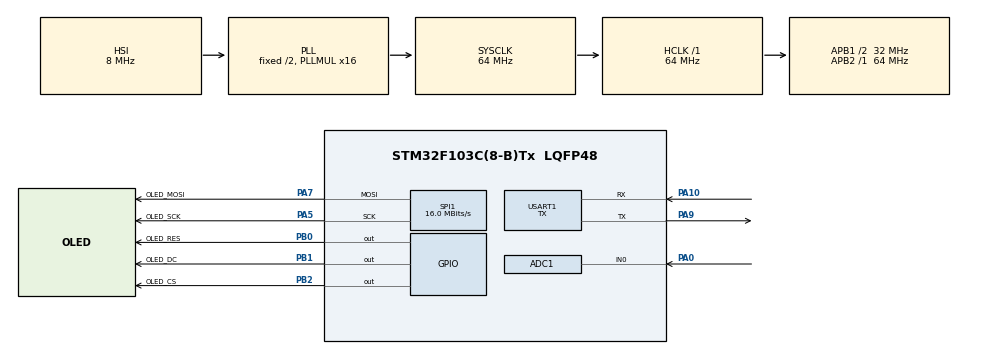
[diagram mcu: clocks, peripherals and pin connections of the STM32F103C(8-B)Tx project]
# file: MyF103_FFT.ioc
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ADC1.Channel-0\#ChannelRegularConversion=ADC_CHANNEL_0
ADC1.ExternalTrigConv=ADC_EXTERNALTRIGCONV_T3_TRGO
ADC1.NbrOfConversionFlag=1
ADC1.Rank-0\#ChannelRegularConversion=1
ADC1.SamplingTime-0\#ChannelRegularConversion=ADC_SAMPLETIME_1CYCLE_5
ADC1.master=1
Dma.ADC1.0.Direction=DMA_PERIPH_TO_MEMORY
Dma.ADC1.0.Instance=DMA1_Channel1
Dma.ADC1.0.MemDataAlignment=DMA_MDATAALIGN_WORD
Dma.ADC1.0.MemInc=DMA_MINC_ENABLE
Dma.ADC1.0.Mode=DMA_CIRCULAR
Dma.ADC1.0.PeriphDataAlignment=DMA_PDATAALIGN_WORD
Dma.ADC1.0.PeriphInc=DMA_PINC_DISABLE
Dma.ADC1.0.Priority=DMA_PRIORITY_LOW
Dma.Request0=ADC1
FREERTOS.Tasks01=defaultTask,24,128,StartDefaultTask,Default,NULL,Dynamic,NULL,NULL
FREERTOS.configTOTAL_HEAP_SIZE=6144
Mcu.Family=STM32F1
Mcu.Name=STM32F103C(8-B)Tx
Mcu.Package=LQFP48
NVIC.DMA1_Channel1_IRQn=true\:5\:0\:true\:false\:true\:true\:false\:true
NVIC.PriorityGroup=NVIC_PRIORITYGROUP_4
NVIC.TIM2_IRQn=true\:0\:0\:false\:false\:true\:false\:false\:true
NVIC.TimeBase=TIM2_IRQn
NVIC.TimeBaseIP=TIM2
PA0-WKUP.Signal=ADCx_IN0
PA10.Mode=Asynchronous
PA10.Signal=USART1_RX
PA5.GPIO_Label=OLED_SCK
PA5.Mode=TX_Only_Simplex_Unidirect_Master
PA5.Signal=SPI1_SCK
PA7.GPIO_Label=OLED_MOSI
PA7.Mode=TX_Only_Simplex_Unidirect_Master
PA7.Signal=SPI1_MOSI
PA9.Mode=Asynchronous
PA9.Signal=USART1_TX
PB0.GPIO_Label=OLED_RES
PB0.GPIO_ModeDefaultOutputPP=GPIO_MODE_OUTPUT_PP
PB0.GPIO_Speed=GPIO_SPEED_FREQ_HIGH
PB0.PinState=GPIO_PIN_SET
PB0.Signal=GPIO_Output
PB1.GPIO_Label=OLED_DC
PB1.GPIO_Speed=GPIO_SPEED_FREQ_HIGH
PB1.PinState=GPIO_PIN_SET
PB1.Signal=GPIO_Output
PB2.GPIO_Label=OLED_CS
PB2.GPIO_Speed=GPIO_SPEED_FREQ_HIGH
PB2.PinState=GPIO_PIN_SET
PB2.Signal=GPIO_Output
ProjectManager.HeapSize=0x200
ProjectManager.StackSize=0x400
ProjectManager.TargetToolchain=MDK-ARM V5
RCC.ADCPresc=RCC_ADCPCLK2_DIV8
RCC.AHBFreq_Value=64000000
RCC.APB1CLKDivider=RCC_HCLK_DIV2
RCC.APB1Freq_Value=32000000
RCC.APB1TimFreq_Value=64000000
RCC.APB2Freq_Value=64000000
RCC.APB2TimFreq_Value=64000000
RCC.HCLKFreq_Value=64000000
RCC.PLLMUL=RCC_PLL_MUL16
RCC.SYSCLKFreq_VALUE=64000000
RCC.SYSCLKSource=RCC_SYSCLKSOURCE_PLLCLK
RCC.USBFreq_Value=64000000
SH.ADCx_IN0.0=ADC1_IN0,IN0
SPI1.BaudRatePrescaler=SPI_BAUDRATEPRESCALER_4
SPI1.CalculateBaudRate=16.0 MBits/s
SPI1.Direction=SPI_DIRECTION_2LINES
SPI1.Mode=SPI_MODE_MASTER
SPI1.VirtualType=VM_MASTER
TIM3.Period=100
TIM3.Prescaler=72-1
TIM3.TIM_MasterOutputTrigger=TIM_TRGO_UPDATE
USART1.Mode=MODE_TX
USART1.VirtualMode=VM_ASYNC
VP_FREERTOS_VS_CMSIS_V2.Mode=CMSIS_V2
VP_SYS_VS_ND.Mode=No_Debug
VP_SYS_VS_tim2.Mode=TIM2
VP_TIM3_VS_ClockSourceINT.Mode=Internal
board=custom

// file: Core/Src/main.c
/* USER CODE BEGIN Header */
/**
  ******************************************************************************
  * @file           : main.c
  * @brief          : Main program body
  ******************************************************************************
  * @attention
  *
  * <h2><center>&copy; Copyright (c) 2021 STMicroelectronics.
  * All rights reserved.</center></h2>
  *
  * This software component is licensed by ST under Ultimate Liberty license
  * SLA0044, the "License"; You may not use this file except in compliance with
  * the License. You may obtain a copy of the License at:
  *                             www.st.com/SLA0044
  *
  ******************************************************************************
  */
/* USER CODE END Header */
#include "main.h"
#include "cmsis_os.h"

/* USER CODE BEGIN Includes */
#include "FreeRTOS.h"
#include "task.h"
#include "semphr.h"
#include "oled.h"
#include "stdio.h"

#include "fft.h"

/* USER CODE END Includes */

ADC_HandleTypeDef hadc1;
DMA_HandleTypeDef hdma_adc1;

SPI_HandleTypeDef hspi1;

TIM_HandleTypeDef htim3;

UART_HandleTypeDef huart1;

/* Definitions for defaultTask */
osThreadId_t defaultTaskHandle;
const osThreadAttr_t defaultTask_attributes = {
  .name = "defaultTask",
  .stack_size = 128 * 4,
  .priority = (osPriority_t) osPriorityNormal,
};
/* USER CODE BEGIN PV */

/*开启或关闭屏幕刷新*/
volatile FunctionalState OLED_CMD = ENABLE;

/* USER CODE END PV */

void SystemClock_Config(void);
static void MX_GPIO_Init(void);
static void MX_DMA_Init(void);
static void MX_SPI1_Init(void);
static void MX_ADC1_Init(void);
static void MX_TIM3_Init(void);
static void MX_USART1_UART_Init(void);
void StartDefaultTask(void *argument);

/* USER CODE BEGIN PFP */

void oled_task(void *pvParameters);

/* USER CODE END PFP */

/* USER CODE BEGIN 0 */

#define OLED_TASK_PRIO				2
#define OLED_TASK_STACK_SIZE	128
TaskHandle_t OLEDTask_Handler;

/* USER CODE END 0 */

int main(void)
{

  /* MCU Configuration--------------------------------------------------------*/

  /* Reset of all peripherals, Initializes the Flash interface and the Systick. */
  HAL_Init();

  /* Configure the system clock */
  SystemClock_Config();

  /* Initialize all configured peripherals */
  MX_GPIO_Init();
  MX_DMA_Init();
  MX_SPI1_Init();
  MX_ADC1_Init();
  MX_TIM3_Init();
  MX_USART1_UART_Init();
  /* USER CODE BEGIN 2 */
	oled_init();

  /* USER CODE END 2 */

  /* Init scheduler */
  osKernelInitialize();

  /* Create the thread(s) */
  /* creation of defaultTask */
  defaultTaskHandle = osThreadNew(StartDefaultTask, NULL, &defaultTask_attributes);

  /* USER CODE BEGIN RTOS_THREADS */
  /* add threads, ... */
	xTaskCreate((TaskFunction_t)oled_task,
							(const char *)"oled_task",
							( configSTACK_DEPTH_TYPE)OLED_TASK_STACK_SIZE,
							(void *)NULL,
							(UBaseType_t)OLED_TASK_PRIO,
							(TaskHandle_t * )&OLEDTask_Handler);

	fft_task_create();

  /* USER CODE END RTOS_THREADS */

  /* Start scheduler */
  osKernelStart();

  /* We should never get here as control is now taken by the scheduler */
  /* Infinite loop */
  while (1)
  {

  }
}

void SystemClock_Config(void)
{
  RCC_OscInitTypeDef RCC_OscInitStruct = {0};
  RCC_ClkInitTypeDef RCC_ClkInitStruct = {0};
  RCC_PeriphCLKInitTypeDef PeriphClkInit = {0};

  /** Initializes the RCC Oscillators according to the specified parameters
  * in the RCC_OscInitTypeDef structure.
  */
  RCC_OscInitStruct.OscillatorType = RCC_OSCILLATORTYPE_HSI;
  RCC_OscInitStruct.HSIState = RCC_HSI_ON;
  RCC_OscInitStruct.HSICalibrationValue = RCC_HSICALIBRATION_DEFAULT;
  RCC_OscInitStruct.PLL.PLLState = RCC_PLL_ON;
  RCC_OscInitStruct.PLL.PLLSource = RCC_PLLSOURCE_HSI_DIV2;
  RCC_OscInitStruct.PLL.PLLMUL = RCC_PLL_MUL16;
  if (HAL_RCC_OscConfig(&RCC_OscInitStruct) != HAL_OK)
  {
    Error_Handler();
  }
  /** Initializes the CPU, AHB and APB buses clocks
  */
  RCC_ClkInitStruct.ClockType = RCC_CLOCKTYPE_HCLK|RCC_CLOCKTYPE_SYSCLK
                              |RCC_CLOCKTYPE_PCLK1|RCC_CLOCKTYPE_PCLK2;
  RCC_ClkInitStruct.SYSCLKSource = RCC_SYSCLKSOURCE_PLLCLK;
  RCC_ClkInitStruct.AHBCLKDivider = RCC_SYSCLK_DIV1;
  RCC_ClkInitStruct.APB1CLKDivider = RCC_HCLK_DIV2;
  RCC_ClkInitStruct.APB2CLKDivider = RCC_HCLK_DIV1;

  if (HAL_RCC_ClockConfig(&RCC_ClkInitStruct, FLASH_LATENCY_2) != HAL_OK)
  {
    Error_Handler();
  }
  PeriphClkInit.PeriphClockSelection = RCC_PERIPHCLK_ADC;
  PeriphClkInit.AdcClockSelection = RCC_ADCPCLK2_DIV8;
  if (HAL_RCCEx_PeriphCLKConfig(&PeriphClkInit) != HAL_OK)
  {
    Error_Handler();
  }
}

static void MX_ADC1_Init(void)
{

  ADC_ChannelConfTypeDef sConfig = {0};

  /** Common config
  */
  hadc1.Instance = ADC1;
  hadc1.Init.ScanConvMode = ADC_SCAN_DISABLE;
  hadc1.Init.ContinuousConvMode = DISABLE;
  hadc1.Init.DiscontinuousConvMode = DISABLE;
  hadc1.Init.ExternalTrigConv = ADC_EXTERNALTRIGCONV_T3_TRGO;
  hadc1.Init.DataAlign = ADC_DATAALIGN_RIGHT;
  hadc1.Init.NbrOfConversion = 1;
  if (HAL_ADC_Init(&hadc1) != HAL_OK)
  {
    Error_Handler();
  }
  /** Configure Regular Channel
  */
  sConfig.Channel = ADC_CHANNEL_0;
  sConfig.Rank = ADC_REGULAR_RANK_1;
  sConfig.SamplingTime = ADC_SAMPLETIME_1CYCLE_5;
  if (HAL_ADC_ConfigChannel(&hadc1, &sConfig) != HAL_OK)
  {
    Error_Handler();
  }

}

static void MX_SPI1_Init(void)
{

  /* SPI1 parameter configuration*/
  hspi1.Instance = SPI1;
  hspi1.Init.Mode = SPI_MODE_MASTER;
  hspi1.Init.Direction = SPI_DIRECTION_2LINES;
  hspi1.Init.DataSize = SPI_DATASIZE_8BIT;
  hspi1.Init.CLKPolarity = SPI_POLARITY_LOW;
  hspi1.Init.CLKPhase = SPI_PHASE_1EDGE;
  hspi1.Init.NSS = SPI_NSS_SOFT;
  hspi1.Init.BaudRatePrescaler = SPI_BAUDRATEPRESCALER_4;
  hspi1.Init.FirstBit = SPI_FIRSTBIT_MSB;
  hspi1.Init.TIMode = SPI_TIMODE_DISABLE;
  hspi1.Init.CRCCalculation = SPI_CRCCALCULATION_DISABLE;
  hspi1.Init.CRCPolynomial = 10;
  if (HAL_SPI_Init(&hspi1) != HAL_OK)
  {
    Error_Handler();
  }

}

static void MX_TIM3_Init(void)
{

  TIM_ClockConfigTypeDef sClockSourceConfig = {0};
  TIM_MasterConfigTypeDef sMasterConfig = {0};

  htim3.Instance = TIM3;
  htim3.Init.Prescaler = 72-1;
  htim3.Init.CounterMode = TIM_COUNTERMODE_UP;
  htim3.Init.Period = 100;
  htim3.Init.ClockDivision = TIM_CLOCKDIVISION_DIV1;
  htim3.Init.AutoReloadPreload = TIM_AUTORELOAD_PRELOAD_DISABLE;
  if (HAL_TIM_Base_Init(&htim3) != HAL_OK)
  {
    Error_Handler();
  }
  sClockSourceConfig.ClockSource = TIM_CLOCKSOURCE_INTERNAL;
  if (HAL_TIM_ConfigClockSource(&htim3, &sClockSourceConfig) != HAL_OK)
  {
    Error_Handler();
  }
  sMasterConfig.MasterOutputTrigger = TIM_TRGO_UPDATE;
  sMasterConfig.MasterSlaveMode = TIM_MASTERSLAVEMODE_DISABLE;
  if (HAL_TIMEx_MasterConfigSynchronization(&htim3, &sMasterConfig) != HAL_OK)
  {
    Error_Handler();
  }

}

static void MX_USART1_UART_Init(void)
{

  huart1.Instance = USART1;
  huart1.Init.BaudRate = 115200;
  huart1.Init.WordLength = UART_WORDLENGTH_8B;
  huart1.Init.StopBits = UART_STOPBITS_1;
  huart1.Init.Parity = UART_PARITY_NONE;
  huart1.Init.Mode = UART_MODE_TX;
  huart1.Init.HwFlowCtl = UART_HWCONTROL_NONE;
  huart1.Init.OverSampling = UART_OVERSAMPLING_16;
  if (HAL_UART_Init(&huart1) != HAL_OK)
  {
    Error_Handler();
  }

}

static void MX_DMA_Init(void)
{

  /* DMA controller clock enable */
  __HAL_RCC_DMA1_CLK_ENABLE();

  /* DMA interrupt init */
  /* DMA1_Channel1_IRQn interrupt configuration */
  HAL_NVIC_SetPriority(DMA1_Channel1_IRQn, 5, 0);
  HAL_NVIC_EnableIRQ(DMA1_Channel1_IRQn);

}

static void MX_GPIO_Init(void)
{
  GPIO_InitTypeDef GPIO_InitStruct = {0};

  /* GPIO Ports Clock Enable */
  __HAL_RCC_GPIOA_CLK_ENABLE();
  __HAL_RCC_GPIOB_CLK_ENABLE();

  /*Configure GPIO pin Output Level */
  HAL_GPIO_WritePin(GPIOB, OLED_RES_Pin|OLED_DC_Pin|OLED_CS_Pin, GPIO_PIN_SET);

  /*Configure GPIO pins : OLED_RES_Pin OLED_DC_Pin OLED_CS_Pin */
  GPIO_InitStruct.Pin = OLED_RES_Pin|OLED_DC_Pin|OLED_CS_Pin;
  GPIO_InitStruct.Mode = GPIO_MODE_OUTPUT_PP;
  GPIO_InitStruct.Pull = GPIO_NOPULL;
  GPIO_InitStruct.Speed = GPIO_SPEED_FREQ_HIGH;
  HAL_GPIO_Init(GPIOB, &GPIO_InitStruct);

}

/* USER CODE BEGIN 4 */

/**
  * @brief  Conversion complete callback in non blocking mode
  * @param  hadc: ADC handle
  * @retval None
  */
void HAL_ADC_ConvCpltCallback(ADC_HandleTypeDef* hadc)
{
	if(hadc->Instance == ADC1)
	{
		FFT_ADC_ConvCpltCallback();
	}
}

/**
  * @brief
  * @param  huart:串口句柄
  * @retval None
  */
int fputc(int ch, FILE *f) {
	HAL_UART_Transmit(&huart1, (uint8_t *)&ch, 1, 200);
  f = f;
	return ch;
}

/**
  * @brief  oled_task
  * @param  pvParameters
  * @retval None
  */
void oled_task(void *pvParameters)
{
	while(1)
	{
		if(oled_cmd_get() == ENABLE)
		{
			oled_refresh();
		}
		vTaskDelay(20);
	}
}

/**
  * @brief  set oled cmd
  * @param  Cmd
	*		#ENABLE
	*		#DISABLE
  * @retval None
  */
void oled_cmd_set(FunctionalState Cmd)
{
	OLED_CMD = Cmd;
}

/**
  * @brief  get oled cmd
  * @param  None
  * @retval oled cmd state
	*		#ENABLE
	*		#DISABLE
  */
FunctionalState oled_cmd_get(void)
{
	return OLED_CMD;
}

/* USER CODE END 4 */

void StartDefaultTask(void *argument)
{
  for(;;)
  {
    osDelay(1);
  }
}

 /**
  * @brief  Period elapsed callback in non blocking mode
  * @note   This function is called  when TIM2 interrupt took place, inside
  * HAL_TIM_IRQHandler(). It makes a direct call to HAL_IncTick() to increment
  * a global variable "uwTick" used as application time base.
  * @param  htim : TIM handle
  * @retval None
  */
void HAL_TIM_PeriodElapsedCallback(TIM_HandleTypeDef *htim)
{
  if (htim->Instance == TIM2) {
    HAL_IncTick();
  }
}

void Error_Handler(void)
{
  __disable_irq();
  while (1)
  {
  }
}

/************************ (C) COPYRIGHT STMicroelectronics *****END OF FILE****/
